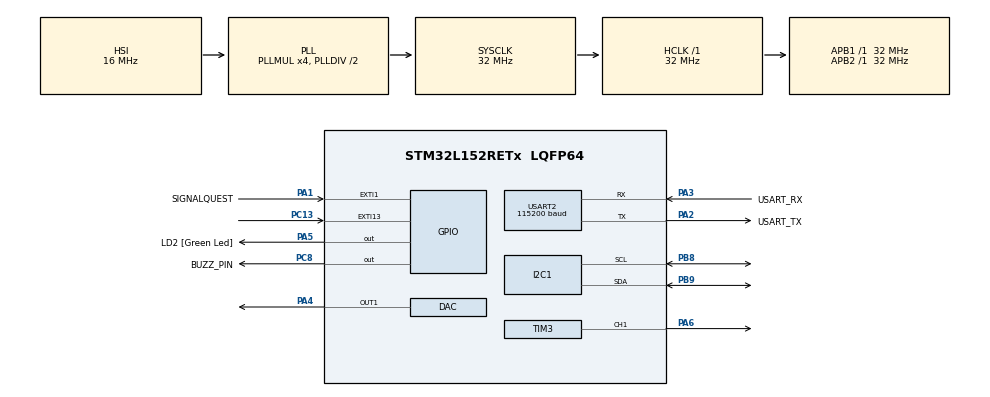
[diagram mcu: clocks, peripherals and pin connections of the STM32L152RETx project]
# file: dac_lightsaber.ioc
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I2C1.I2C_Mode=I2C_Fast
Mcu.Family=STM32L1
Mcu.Name=STM32L152RETx
Mcu.Package=LQFP64
NVIC.EXTI15_10_IRQn=true\:0\:0\:false\:false\:true\:true
NVIC.EXTI1_IRQn=true\:0\:0\:false\:false\:true\:true
NVIC.PriorityGroup=NVIC_PRIORITYGROUP_0
NVIC.TIM10_IRQn=true\:0\:0\:false\:false\:true\:true
PA1.GPIO_Label=SIGNALQUEST
PA1.GPIO_PuPd=GPIO_PULLDOWN
PA1.Signal=GPXTI1
PA13.GPIO_Label=TMS
PA13.Signal=SYS_JTMS-SWDIO
PA14.GPIO_Label=TCK
PA14.Signal=SYS_JTCK-SWCLK
PA2.GPIO_Label=USART_TX
PA2.Mode=Asynchronous
PA2.Signal=USART2_TX
PA3.GPIO_Label=USART_RX
PA3.Mode=Asynchronous
PA3.Signal=USART2_RX
PA4.Signal=COMP_DAC1_group
PA5.GPIO_Label=LD2 [Green Led]
PA5.Signal=GPIO_Output
PA6.Signal=S_TIM3_CH1
PB3.GPIO_Label=SWO
PB3.Signal=SYS_JTDO-TRACESWO
PB8.Mode=I2C
PB8.Signal=I2C1_SCL
PB9.Mode=I2C
PB9.Signal=I2C1_SDA
PC13-WKUP2.GPIO_ModeDefaultEXTI=GPIO_MODE_IT_FALLING
PC13-WKUP2.Signal=GPXTI13
PC14-OSC32_IN.Signal=RCC_OSC32_IN
PC15-OSC32_OUT.Signal=RCC_OSC32_OUT
PC8.GPIO_Label=BUZZ_PIN
PC8.Signal=GPIO_Output
PH0-OSC_IN.Signal=RCC_OSC_IN
PH1-OSC_OUT.Signal=RCC_OSC_OUT
ProjectManager.HeapSize=0x200
ProjectManager.StackSize=0x400
ProjectManager.TargetToolchain=Makefile
RCC.AHBFreq_Value=32000000
RCC.APB1Freq_Value=32000000
RCC.APB1TimFreq_Value=32000000
RCC.APB2Freq_Value=32000000
RCC.APB2TimFreq_Value=32000000
RCC.HCLKFreq_Value=32000000
RCC.HSE_VALUE=8000000
RCC.HSI_VALUE=16000000
RCC.LSE_VALUE=32768
RCC.MSIClockRange=RCC_MSIRANGE_3
RCC.MSI_VALUE=524288
RCC.PLLMUL=RCC_PLL_MUL4
RCC.RTCClockSelectionVirtual=RCC_RTCCLKSOURCE_LSE
RCC.SYSCLKFreq_VALUE=32000000
RCC.SYSCLKSource=RCC_SYSCLKSOURCE_PLLCLK
RCC.USBOutput=32000000
RCC.VCOOutputFreq_Value=64000000
SH.COMP_DAC1_group.0=DAC_OUT1,DAC_OUT1
SH.S_TIM3_CH1.0=TIM3_CH1,PWM Generation1 CH1
TIM10.ClockDivision=TIM_CLOCKDIVISION_DIV1
TIM10.Period=1451
TIM3.Channel-PWM\ Generation1\ CH1=TIM_CHANNEL_1
TIM3.OCMode_PWM-PWM\ Generation1\ CH1=TIM_OCMODE_PWM1
TIM3.OCPolarity_1=TIM_OCPOLARITY_LOW
TIM3.Period=255
TIM3.Prescaler=4
USART2.BaudRate=115200
USART2.VirtualMode=VM_ASYNC
VP_TIM10_VS_ClockSourceINT.Mode=Internal
VP_TIM3_VS_ClockSourceINT.Mode=Internal
board=NUCLEO-L152RE

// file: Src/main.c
/**
  ******************************************************************************
  * File Name          : main.c
  * Description        : Main program body
  ******************************************************************************
  ** This notice applies to any and all portions of this file
  * that are not between comment pairs USER CODE BEGIN and
  * USER CODE END. Other portions of this file, whether
  * inserted by the user or by software development tools
  * are owned by their respective copyright owners.
  *
  * COPYRIGHT(c) 2018 STMicroelectronics
  *
  * Redistribution and use in source and binary forms, with or without modification,
  * are permitted provided that the following conditions are met:
  *   1. Redistributions of source code must retain the above copyright notice,
  *      this list of conditions and the following disclaimer.
  *   2. Redistributions in binary form must reproduce the above copyright notice,
  *      this list of conditions and the following disclaimer in the documentation
  *      and/or other materials provided with the distribution.
  *   3. Neither the name of STMicroelectronics nor the names of its contributors
  *      may be used to endorse or promote products derived from this software
  *      without specific prior written permission.
  *
  * THIS SOFTWARE IS PROVIDED BY THE COPYRIGHT HOLDERS AND CONTRIBUTORS "AS IS"
  * AND ANY EXPRESS OR IMPLIED WARRANTIES, INCLUDING, BUT NOT LIMITED TO, THE
  * IMPLIED WARRANTIES OF MERCHANTABILITY AND FITNESS FOR A PARTICULAR PURPOSE ARE
  * DISCLAIMED. IN NO EVENT SHALL THE COPYRIGHT HOLDER OR CONTRIBUTORS BE LIABLE
  * FOR ANY DIRECT, INDIRECT, INCIDENTAL, SPECIAL, EXEMPLARY, OR CONSEQUENTIAL
  * DAMAGES (INCLUDING, BUT NOT LIMITED TO, PROCUREMENT OF SUBSTITUTE GOODS OR
  * SERVICES; LOSS OF USE, DATA, OR PROFITS; OR BUSINESS INTERRUPTION) HOWEVER
  * CAUSED AND ON ANY THEORY OF LIABILITY, WHETHER IN CONTRACT, STRICT LIABILITY,
  * OR TORT (INCLUDING NEGLIGENCE OR OTHERWISE) ARISING IN ANY WAY OUT OF THE USE
  * OF THIS SOFTWARE, EVEN IF ADVISED OF THE POSSIBILITY OF SUCH DAMAGE.
  *
  ******************************************************************************
  */
#include "main.h"
#include "stm32l1xx_hal.h"
#include "dac.h"
#include "i2c.h"
#include "tim.h"
#include "usart.h"
#include "gpio.h"
#include <math.h>

/* USER CODE BEGIN Includes */
#include "../my_files/sound_samples/sound_samples.h"
#include "../my_files/accelerometer.h"
/* USER CODE END Includes */

/* USER CODE BEGIN PV */
/* Private variables ---------------------------------------------------------*/
volatile uint8_t    current_sound_pattern;
volatile uint32_t   total_samples_count;
volatile uint32_t   current_samples_count;
volatile uint8_t    button_pushed_flag;
volatile uint8_t    random_byte;
uint8_t             hit_pattern;
uint8_t             swing_pattern;
uint8_t             if_saber_turned_on_flag;
/* USER CODE END PV */

void SystemClock_Config(void);

/* USER CODE BEGIN PFP */
/* Private function prototypes -----------------------------------------------*/

/* USER CODE END PFP */

/* USER CODE BEGIN 0 */

void print_string(char *data)
{
  char buf[256] = { 0 };
  sprintf(&buf[0], "%s%s\r\n", "\033[3J", data); // first string 'clears the scrollbar' in putty
  HAL_UART_Transmit(&huart2, (uint8_t *)&buf[0], sizeof(buf), 100);
}

void set_current_sound_pattern(uint8_t val)
{
  HAL_TIM_Base_Stop_IT(&htim10);
  current_sound_pattern = val;
  total_samples_count = sound_structs_array[val]->array_size;
  current_samples_count = 0;
  HAL_TIM_Base_Start_IT(&htim10);
}

uint8_t get_hit_pattern(void)
{
  hit_pattern++;
  if(hit_pattern < HIT1_PATTERN || hit_pattern > LAST_HIT_PATTERN)
  {
    hit_pattern = HIT1_PATTERN;
  }
  return hit_pattern;
  // return (random_byte % (LAST_HIT_PATTERN - HIT1_PATTERN + 1)) + HIT1_PATTERN;    // random hit pattern
}

uint8_t get_swing_pattern(void)
{
  swing_pattern++;
  if(swing_pattern < SWING1_PATTERN || swing_pattern > LAST_SWING_PATTERN)
  {
    swing_pattern = SWING1_PATTERN;
  }
  return swing_pattern;
  // return (random_byte % (LAST_SWING_PATTERN - SWING1_PATTERN + 1)) + SWING1_PATTERN;    // random hit pattern
}

uint8_t is_hit_pattern(void)
{
  return (current_sound_pattern >= HIT1_PATTERN && current_sound_pattern <= LAST_HIT_PATTERN) ? 1 : 0;
}

uint8_t is_swing_pattern(void)
{
  return (current_sound_pattern >= SWING1_PATTERN && current_sound_pattern <= LAST_SWING_PATTERN) ? 1 : 0;
}

void power_up_saber(void)
{
  HAL_DAC_SetValue(&hdac, DAC1_CHANNEL_1, DAC_ALIGN_8B_R, sound_structs_array[POWER_UP_PATTERN]->array_ptr[current_samples_count]);
  // random_byte = current_samples_count & 0xFF;        random byte not needed while powering up/down for now
  TIM3->CCR1 = (TIM3->CCR1 >= 255) ? 255 : (current_samples_count >> 6) & 0xFF;
  if(current_samples_count > (total_samples_count >> 1))
  {
    TIM3->CCR1 = 255;
    if_saber_turned_on_flag = 1;
  }
  if(++current_samples_count >= total_samples_count)
  {
    set_current_sound_pattern(IDLE_PATTERN);
    // if_saber_turned_on_flag = 1;
  }
}

void power_down_saber(void)
{
  if_saber_turned_on_flag = 0;
  HAL_DAC_SetValue(&hdac, DAC1_CHANNEL_1, DAC_ALIGN_8B_R, sound_structs_array[POWER_DOWN_PATTERN]->array_ptr[current_samples_count]);
  // random_byte = current_samples_count & 0xFF;
  TIM3->CCR1 = (TIM3->CCR1 == 0) ? 0 : 255 - ((current_samples_count >> 6) & 0xFF);
  if(++current_samples_count >= total_samples_count)
  {
    HAL_TIM_Base_Stop_IT(&htim10);
    TIM3->CCR1 = 0;
  }
}

void HAL_TIM_PeriodElapsedCallback(TIM_HandleTypeDef *htim)
{
  if(htim->Instance == TIM10)
  {
    if(current_sound_pattern == POWER_UP_PATTERN) power_up_saber();
    else if(current_sound_pattern == POWER_DOWN_PATTERN) power_down_saber();
    else
    {
        HAL_DAC_SetValue(&hdac, DAC1_CHANNEL_1, DAC_ALIGN_8B_R, sound_structs_array[current_sound_pattern]->array_ptr[current_samples_count]);
        random_byte = current_samples_count & 0xFF;
        if(++current_samples_count >= total_samples_count) set_current_sound_pattern(IDLE_PATTERN);
    }
  }
}

void HAL_GPIO_EXTI_Callback(uint16_t GPIO_Pin)
{
  if(GPIO_Pin == GPIO_PIN_13 || GPIO_Pin == SIGNALQUEST_Pin) button_pushed_flag = 1;
}

void button_pushed(void)
{
  if(button_pushed_flag)
    {
      HAL_Delay(15);                // debouncing the button
      uint16_t button_counter = 0;
      while(!HAL_GPIO_ReadPin(GPIOC, GPIO_PIN_13))    // checking if user is pushing the button to turn on/off the saber, or if this is a hit generated with button (just for develop)
      {
        HAL_Delay(1);
        button_counter++;
        if(button_counter > 750)
        {
          set_current_sound_pattern((if_saber_turned_on_flag) ? POWER_DOWN_PATTERN : POWER_UP_PATTERN); // button is hold long time, so the saber is switched on/off
          break;
        }
      }
      if(button_counter <= 750 && if_saber_turned_on_flag &&        // preventing too many hits at the same moment
        (!is_hit_pattern() || current_samples_count > (total_samples_count >> 2))) set_current_sound_pattern(get_hit_pattern()); // button was hold short time, so the hit is generated
      button_pushed_flag = 0;
    }
}

void accelerometer_handling(void)
{
  // char text[255] = { 0 };
  uint8_t data_buf[3] = { 0 };
  while(!(data_buf[0] & (1<<3)))  // checking ZYXDR bit in F_MODE register
  {
    HAL_I2C_Mem_Read(&hi2c1, MMA845_ADDR, 0x00, 1, &data_buf[0], 1, 100);
  }
  HAL_I2C_Mem_Read(&hi2c1, MMA845_ADDR, 0x01, 1, &data_buf[0], 1, 100); // X
  HAL_I2C_Mem_Read(&hi2c1, MMA845_ADDR, 0x03, 1, &data_buf[1], 1, 100); // Y
  HAL_I2C_Mem_Read(&hi2c1, MMA845_ADDR, 0x05, 1, &data_buf[2], 1, 100); // Z
  float vector = sqrtf((int8_t)data_buf[0]*(int8_t)data_buf[0] + (int8_t)data_buf[1]*(int8_t)data_buf[1] + (int8_t)data_buf[2]*(int8_t)data_buf[2]);
  // sprintf(&text[0], "%sX: %d\r\nY: %d\r\nZ: %d\r\nVec: %f\r\n", "\033[3J", (int8_t)data_buf[0], (int8_t)data_buf[1], (int8_t)data_buf[2], vector);
  // HAL_UART_Transmit(&huart2, (uint8_t *)&text[0], sizeof(text), 100);
  if(vector > 100 && if_saber_turned_on_flag && !is_hit_pattern()
                  && (!is_swing_pattern() || current_samples_count > (total_samples_count >> 1))) set_current_sound_pattern(get_swing_pattern());
}

/* USER CODE END 0 */

int main(void)
{

  /* MCU Configuration----------------------------------------------------------*/

  /* Reset of all peripherals, Initializes the Flash interface and the Systick. */
  HAL_Init();

  /* Configure the system clock */
  SystemClock_Config();

  /* Initialize all configured peripherals */
  MX_GPIO_Init();
  MX_DAC_Init();
  MX_TIM10_Init();
  MX_TIM3_Init();
  MX_USART2_UART_Init();
  MX_I2C1_Init();

  /* USER CODE BEGIN 2 */
  HAL_DAC_Start(&hdac, DAC1_CHANNEL_1);
  HAL_DAC_SetValue(&hdac, DAC1_CHANNEL_1, DAC_ALIGN_8B_R, 0);
  HAL_TIM_PWM_Start(&htim3, TIM_CHANNEL_1);
  TIM3->CCR1 = 0;                             // TIM capture/compare register for PWM generating
  hit_pattern = 0;
  swing_pattern = 0;
  button_pushed_flag = 0;
  if_saber_turned_on_flag = 0;
  random_byte = 0;
  print_string("Lightsaber started..");

  uint8_t reg_settings = 0b00000011;    // setting CTRL_REG1 to 680ms !160ms meas delay, Fast Read Mode and Active Mode
  HAL_I2C_Mem_Write(&hi2c1, MMA845_ADDR, 0x2a, 1, &reg_settings, 1, 100);

  // reg_settings = 0b00011100;
  // HAL_I2C_Mem_Write(&hi2c1, MMA845_ADDR, 0x2b, 1, &reg_settings, 1, 100);

  /* USER CODE END 2 */

  /* Infinite loop */
  /* USER CODE BEGIN WHILE */
  while (1)
  {
    accelerometer_handling();
    button_pushed();
  }
  /* USER CODE END WHILE */

}

/** System Clock Configuration
*/
void SystemClock_Config(void)
{

  RCC_OscInitTypeDef RCC_OscInitStruct;
  RCC_ClkInitTypeDef RCC_ClkInitStruct;

    /**Configure the main internal regulator output voltage
    */
  __HAL_PWR_VOLTAGESCALING_CONFIG(PWR_REGULATOR_VOLTAGE_SCALE1);

    /**Initializes the CPU, AHB and APB busses clocks
    */
  RCC_OscInitStruct.OscillatorType = RCC_OSCILLATORTYPE_HSI;
  RCC_OscInitStruct.HSIState = RCC_HSI_ON;
  RCC_OscInitStruct.HSICalibrationValue = 16;
  RCC_OscInitStruct.PLL.PLLState = RCC_PLL_ON;
  RCC_OscInitStruct.PLL.PLLSource = RCC_PLLSOURCE_HSI;
  RCC_OscInitStruct.PLL.PLLMUL = RCC_PLL_MUL4;
  RCC_OscInitStruct.PLL.PLLDIV = RCC_PLL_DIV2;
  if (HAL_RCC_OscConfig(&RCC_OscInitStruct) != HAL_OK)
  {
    _Error_Handler(__FILE__, __LINE__);
  }

    /**Initializes the CPU, AHB and APB busses clocks
    */
  RCC_ClkInitStruct.ClockType = RCC_CLOCKTYPE_HCLK|RCC_CLOCKTYPE_SYSCLK
                              |RCC_CLOCKTYPE_PCLK1|RCC_CLOCKTYPE_PCLK2;
  RCC_ClkInitStruct.SYSCLKSource = RCC_SYSCLKSOURCE_PLLCLK;
  RCC_ClkInitStruct.AHBCLKDivider = RCC_SYSCLK_DIV1;
  RCC_ClkInitStruct.APB1CLKDivider = RCC_HCLK_DIV1;
  RCC_ClkInitStruct.APB2CLKDivider = RCC_HCLK_DIV1;

  if (HAL_RCC_ClockConfig(&RCC_ClkInitStruct, FLASH_LATENCY_1) != HAL_OK)
  {
    _Error_Handler(__FILE__, __LINE__);
  }

    /**Configure the Systick interrupt time
    */
  HAL_SYSTICK_Config(HAL_RCC_GetHCLKFreq()/1000);

    /**Configure the Systick
    */
  HAL_SYSTICK_CLKSourceConfig(SYSTICK_CLKSOURCE_HCLK);

  /* SysTick_IRQn interrupt configuration */
  HAL_NVIC_SetPriority(SysTick_IRQn, 0, 0);
}

void _Error_Handler(char * file, int line)
{
  while(1)
  {
  }
}

/************************ (C) COPYRIGHT STMicroelectronics *****END OF FILE****/
